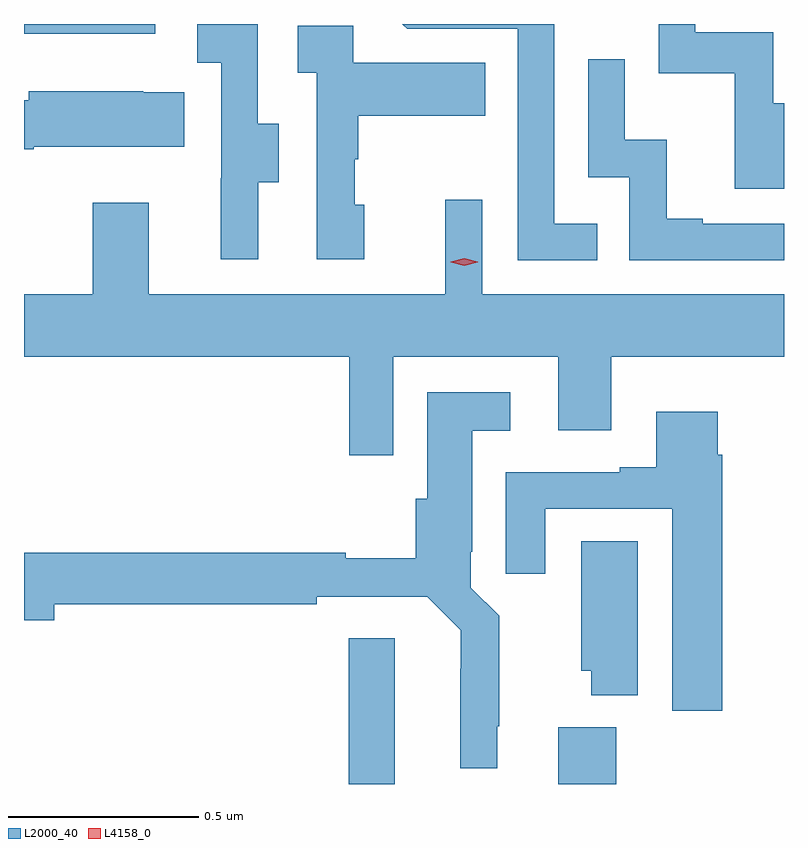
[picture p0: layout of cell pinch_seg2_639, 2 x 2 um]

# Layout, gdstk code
import gdstk
lib = gdstk.Library(unit=1e-6, precision=1e-09)
def R(c, l, rs):  # rectangles x0, y0, x1, y1
    for r in rs: c.add(gdstk.rectangle(r[:2], r[2:], *l))
def P(c, l, *ps):  # polygons
    for p in ps: c.add(gdstk.Polygon(p, *l))
L2000_40 = (2000, 40)
L4158_0 = (4158, 0)

pinch_seg2_639 = lib.new_cell('pinch_seg2_639')
R(pinch_seg2_639, L2000_40, [(1058.273,610.547,1058.395,610.93), (1058.825,610.547,1058.978,610.696), (1057.419,612.521,1057.764,612.547)])
P(pinch_seg2_639, L2000_40, [(1058.927,612.021),(1058.814,612.021),(1058.814,612.547),(1058.414,612.547),(1058.427,612.534),(1058.718,612.534),(1058.718,611.925),(1058.927,611.925)],
  [(1058.035,612.13),(1058.089,612.13),(1058.089,612.285),(1058.034,612.285),(1058.034,612.547),(1057.875,612.547),(1057.875,612.445),(1057.938,612.445),(1057.938,612.141),(1057.937,612.141),(1057.937,611.928),(1058.035,611.928)],
  [(1059.419,612.339),(1059.391,612.339),(1059.391,612.525),(1059.186,612.525),(1059.186,612.547),(1059.09,612.547),(1059.09,612.417),(1059.289,612.417),(1059.289,612.114),(1059.419,612.114)],
  [(1058.314,612.072),(1058.289,612.072),(1058.289,612.191),(1058.299,612.191),(1058.299,612.305),(1058.633,612.305),(1058.633,612.445),(1058.286,612.445),(1058.286,612.543),(1058.139,612.543),(1058.139,612.419),(1058.19,612.419),(1058.19,611.928),(1058.314,611.928)],
  [(1059.419,612.021),(1059.205,612.021),(1059.205,612.034),(1059.11,612.034),(1059.11,612.242),(1059,612.242),(1059,612.454),(1058.904,612.454),(1058.904,612.144),(1059.012,612.144),(1059.012,611.925),(1059.419,611.925)],
  [(1057.444,612.224),(1057.841,612.224),(1057.841,612.367),(1057.733,612.367),(1057.733,612.37),(1057.431,612.37),(1057.431,612.346),(1057.419,612.346),(1057.419,612.217),(1057.444,612.217)],
  [(1058.391,611.672),(1058.825,611.672),(1058.825,611.478),(1058.965,611.478),(1058.965,611.672),(1059.419,611.672),(1059.419,611.836),(1058.625,611.836),(1058.625,612.085),(1058.528,612.085),(1058.528,611.836),(1057.747,611.836),(1057.747,612.076),(1057.6,612.076),(1057.6,611.836),(1057.419,611.836),(1057.419,611.672),(1058.275,611.672),(1058.275,611.412),(1058.391,611.412)],
  [(1058.665,610.699),(1058.669,610.699),(1058.669,610.99),(1058.595,611.064),(1058.595,611.158),(1058.599,611.158),(1058.599,611.477),(1058.698,611.477),(1058.698,611.578),(1058.48,611.578),(1058.48,611.298),(1058.45,611.298),(1058.45,611.141),(1058.266,611.141),(1058.266,611.156),(1057.419,611.156),(1057.419,610.978),(1057.498,610.978),(1057.498,611.02),(1058.189,611.02),(1058.189,611.04),(1058.48,611.04),(1058.568,610.952),(1058.568,610.85),(1058.567,610.85),(1058.567,610.589),(1058.665,610.589)],
  [(1059.257,611.414),(1059.244,611.414),(1059.244,611.527),(1059.083,611.527),(1059.083,611.38),(1058.987,611.38),(1058.987,611.367),(1058.687,611.367),(1058.687,611.1),(1058.791,611.1),(1058.791,611.271),(1059.125,611.271),(1059.125,610.74),(1059.257,610.74)],
  [(1059.034,611.186),(1058.885,611.186),(1058.885,610.845),(1058.912,610.845),(1058.912,610.781),(1059.034,610.781)])
P(pinch_seg2_639, L4158_0, [(1058.578,611.911),(1058.542,611.92),(1058.542,611.921),(1058.542,611.921),(1058.578,611.931),(1058.613,611.921),(1058.613,611.921),(1058.613,611.92)])

lib.write_gds('pinch_seg2_639.gds')
